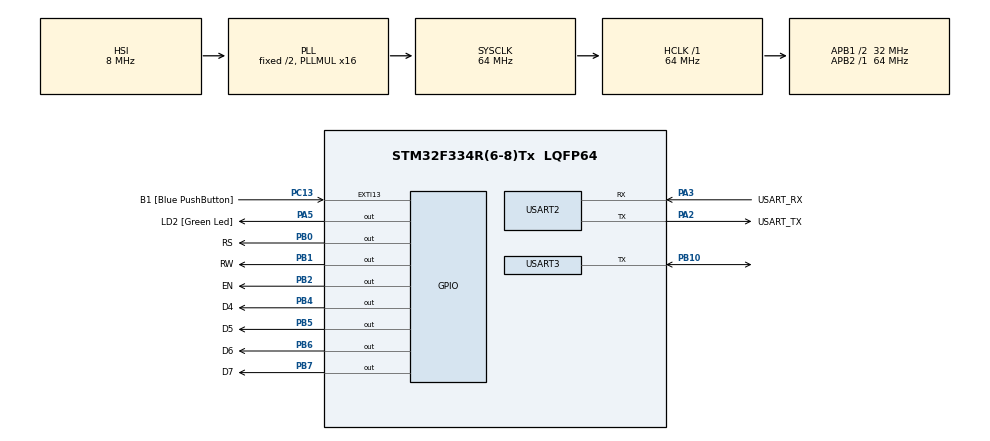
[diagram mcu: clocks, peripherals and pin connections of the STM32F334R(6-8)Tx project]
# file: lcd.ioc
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Mcu.Family=STM32F3
Mcu.Name=STM32F334R(6-8)Tx
Mcu.Package=LQFP64
NVIC.PriorityGroup=NVIC_PRIORITYGROUP_0
PA13.GPIO_Label=TMS
PA13.Mode=Serial_Wire
PA13.Signal=SYS_JTMS-SWDIO
PA14.GPIO_Label=TCK
PA14.Mode=Serial_Wire
PA14.Signal=SYS_JTCK-SWCLK
PA2.GPIO_Label=USART_TX
PA2.Mode=Asynchronous
PA2.Signal=USART2_TX
PA3.GPIO_Label=USART_RX
PA3.Mode=Asynchronous
PA3.Signal=USART2_RX
PA5.GPIO_Label=LD2 [Green Led]
PA5.Signal=GPIO_Output
PB0.GPIO_Label=RS
PB0.Signal=GPIO_Output
PB1.GPIO_Label=RW
PB1.Signal=GPIO_Output
PB10.Mode=Half_duplex(single_wire_mode)
PB10.Signal=USART3_TX
PB2.GPIO_Label=EN
PB2.Signal=GPIO_Output
PB3.GPIO_Label=SWO
PB3.Signal=SYS_JTDO-TRACESWO
PB4.GPIO_Label=D4
PB4.Signal=GPIO_Output
PB5.GPIO_Label=D5
PB5.Signal=GPIO_Output
PB6.GPIO_Label=D6
PB6.Signal=GPIO_Output
PB7.GPIO_Label=D7
PB7.Signal=GPIO_Output
PC13.GPIO_Label=B1 [Blue PushButton]
PC13.GPIO_ModeDefaultEXTI=GPIO_MODE_IT_FALLING
PC13.Signal=GPXTI13
PC14\ /\ OSC32_IN.Mode=LSE-External-Oscillator
PC14\ /\ OSC32_IN.Signal=RCC_OSC32_IN
PC15\ /\ OSC32_OUT.GPIO_Label=RCC_OSC32_OUT
PC15\ /\ OSC32_OUT.Mode=LSE-External-Oscillator
PC15\ /\ OSC32_OUT.Signal=RCC_OSC32_OUT
PF0\ /\ OSC_IN.Mode=HSE-External-Clock-Source
PF0\ /\ OSC_IN.Signal=RCC_OSC_IN
PF1\ /\ OSC_OUT.Signal=RCC_OSC_OUT
ProjectManager.HeapSize=0x200
ProjectManager.StackSize=0x400
ProjectManager.TargetToolchain=STM32CubeIDE
RCC.AHBFreq_Value=64000000
RCC.APB1CLKDivider=RCC_HCLK_DIV2
RCC.APB1Freq_Value=32000000
RCC.APB1TimFreq_Value=64000000
RCC.APB2Freq_Value=64000000
RCC.APB2TimFreq_Value=64000000
RCC.CortexFreq_Value=64000000
RCC.FLatency-AdvancedSettings=FLASH_LATENCY_2
RCC.HCLKFreq_Value=64000000
RCC.HSE_VALUE=8000000
RCC.HSI_VALUE=8000000
RCC.PLLMUL=RCC_PLL_MUL16
RCC.SYSCLKFreq_VALUE=64000000
RCC.SYSCLKSourceVirtual=RCC_SYSCLKSOURCE_PLLCLK
TIM6.Prescaler=63
USART2.VirtualMode-Asynchronous=VM_ASYNC
USART3.BaudRate=9600
USART3.OverrunDisableParam=ADVFEATURE_OVERRUN_DISABLE
USART3.VirtualMode-Half_duplex(single_wire_mode)=VM_ASYNC
VP_TIM6_VS_ClockSourceINT.Mode=Enable_Timer
board=NUCLEO-F334R8

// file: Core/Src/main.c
/* USER CODE BEGIN Header */
/**
  ******************************************************************************
  * @file           : main.c
  * @brief          : Main program body
  ******************************************************************************
  * @attention
  *
  * Copyright (c) 2021 STMicroelectronics.
  * All rights reserved.
  *
  * This software is licensed under terms that can be found in the LICENSE file
  * in the root directory of this software component.
  * If no LICENSE file comes with this software, it is provided AS-IS.
  *
  ******************************************************************************
  */
/* USER CODE END Header */
#include "main.h"
#include "tim.h"
#include "usart.h"
#include "gpio.h"

/* USER CODE BEGIN Includes */
#include "lcd_1602.h"
#include "ds18b20.h"
#include <stdio.h>
#include <string.h>

/* USER CODE END Includes */

void SystemClock_Config(void);

/* USER CODE BEGIN 0 */

// formatowanie danych i przesyłanie do wyświelacza
// temp - temperatura pobrana z czujnika
// txt - tekst dopisywany przed wyświetleniem temperatury
void send_temp(float temp, char* txt){
      static char celsius[3] = {(char)223, 'C', '\0'};

	  char temp_ch[8] = "";
	  char result[16];

	  // rzutowanie float na char*
      gcvt(temp,4,temp_ch);

      // łączenie zmiennych w jedną tablicę
	  strcat(temp_ch,celsius);
	  strcpy(result, txt);
	  strcat(result, temp_ch);

	  // wyświetlanie tekstu na hd44780
	  lcd_print(result);
}
/* USER CODE END 0 */

int main(void)
{

  /* MCU Configuration--------------------------------------------------------*/

  /* Reset of all peripherals, Initializes the Flash interface and the Systick. */
  HAL_Init();

  /* Configure the system clock */
  SystemClock_Config();

  /* Initialize all configured peripherals */
  MX_GPIO_Init();
  MX_USART2_UART_Init();
  MX_USART3_UART_Init();
  MX_TIM6_Init();
  /* USER CODE BEGIN 2 */

//  if (ds18b20_init() != HAL_OK) {
//    Error_Handler();
//  }

  uint8_t ds1[DS18B20_ROM_CODE_SIZE];

  // sprawdzanie komunikacji z czujnikiem
  if (ds18b20_read_address(ds1) != HAL_OK) {
    Error_Handler();
  }

  HAL_TIM_Base_Start(&htim6);
  lcd_init();	// inicjalizacja lcd

  unsigned int i = 1;	// iterator do zliczania średniej
  float sum = 0;		// suma wszystkich temperatur
  /* USER CODE END 2 */

  /* Infinite loop */
  /* USER CODE BEGIN WHILE */
  while (1)
  {
	  HAL_TIM_Base_Start(&htim6);
	  ds18b20_start_measure(); // start pomiaru

	  HAL_Delay(750);	// czekanie na wykonanie pomiaru
	  lcd_move_cursor(0,0);

	  float temp = ds18b20_get_temp();

	    if (temp >= 80.0f)	// w przypadku zwrócenia wartości domyślnej wświetl błąd
	      lcd_print("Error");

	    else{

		  lcd_clear();
	      send_temp(temp, "Temp: "); //formatowanie i wysyłanie temperatry do wyświetlacza

		  sum += temp;
		  lcd_move_cursor(0,1);
		  send_temp(sum/i, "Avg:  "); // wysyłanie policzonej średniej
		  i++;

	    }

	    HAL_Delay(250); //dokonywanie pomiaru co sekundę (750ms czas pomiaru, 250 czekanie)

    /* USER CODE END WHILE */

  }
}

void SystemClock_Config(void)
{
  RCC_OscInitTypeDef RCC_OscInitStruct = {0};
  RCC_ClkInitTypeDef RCC_ClkInitStruct = {0};

  /** Initializes the RCC Oscillators according to the specified parameters
  * in the RCC_OscInitTypeDef structure.
  */
  RCC_OscInitStruct.OscillatorType = RCC_OSCILLATORTYPE_HSI;
  RCC_OscInitStruct.HSIState = RCC_HSI_ON;
  RCC_OscInitStruct.HSICalibrationValue = RCC_HSICALIBRATION_DEFAULT;
  RCC_OscInitStruct.PLL.PLLState = RCC_PLL_ON;
  RCC_OscInitStruct.PLL.PLLSource = RCC_PLLSOURCE_HSI;
  RCC_OscInitStruct.PLL.PLLMUL = RCC_PLL_MUL16;
  if (HAL_RCC_OscConfig(&RCC_OscInitStruct) != HAL_OK)
  {
    Error_Handler();
  }
  /** Initializes the CPU, AHB and APB buses clocks
  */
  RCC_ClkInitStruct.ClockType = RCC_CLOCKTYPE_HCLK|RCC_CLOCKTYPE_SYSCLK
                              |RCC_CLOCKTYPE_PCLK1|RCC_CLOCKTYPE_PCLK2;
  RCC_ClkInitStruct.SYSCLKSource = RCC_SYSCLKSOURCE_PLLCLK;
  RCC_ClkInitStruct.AHBCLKDivider = RCC_SYSCLK_DIV1;
  RCC_ClkInitStruct.APB1CLKDivider = RCC_HCLK_DIV2;
  RCC_ClkInitStruct.APB2CLKDivider = RCC_HCLK_DIV1;

  if (HAL_RCC_ClockConfig(&RCC_ClkInitStruct, FLASH_LATENCY_2) != HAL_OK)
  {
    Error_Handler();
  }
}

void Error_Handler(void)
{
  __disable_irq();
  while (1)
  {
  }
}
